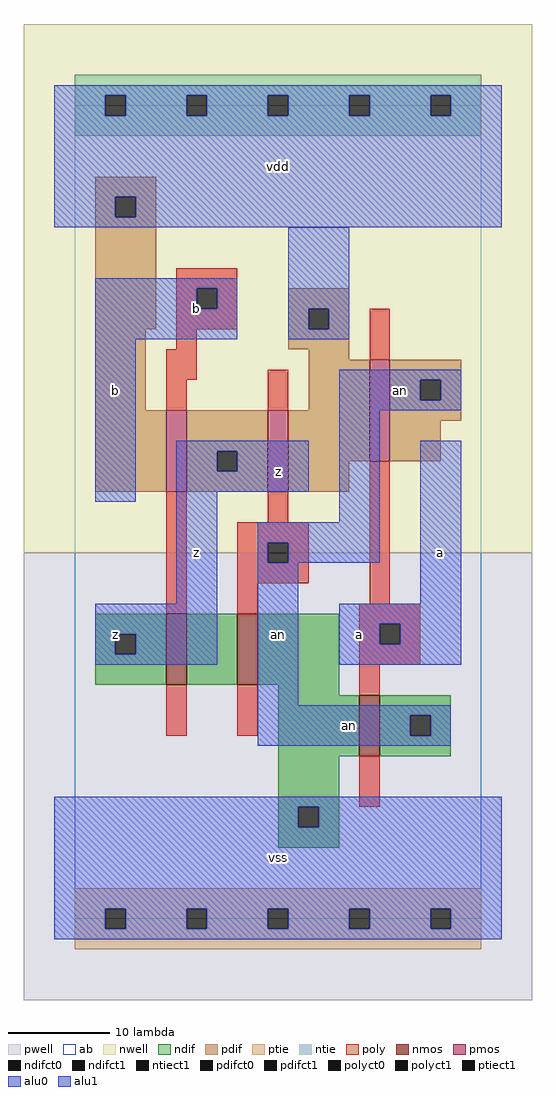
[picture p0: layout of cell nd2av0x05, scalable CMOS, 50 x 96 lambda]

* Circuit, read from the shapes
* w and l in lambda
.subckt nd2av0x05 a an b vdd vss z
M1 n1 b z vss nfet w=7 l=2
M2 vss an n1 vss nfet w=7 l=2
M3 an a vss vss nfet w=6 l=2
M4 z b vdd vdd pfet w=8 l=2
M5 vdd an z vdd pfet w=8 l=2
M6 an a vdd vdd pfet w=10 l=2
.ends

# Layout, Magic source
magic
tech scmos
<< ab >>
rect 0 0 40 80
<< nwell >>
rect -5 36 45 88
<< pwell >>
rect -5 -8 45 36
<< poly >>
rect 10 62 16 64
rect 10 60 12 62
rect 14 60 16 62
rect 10 58 16 60
rect 10 56 12 58
rect 9 53 12 56
rect 29 55 31 60
rect 9 50 11 53
rect 19 50 21 54
rect 9 30 11 42
rect 19 39 21 42
rect 16 37 23 39
rect 16 35 19 37
rect 21 35 23 37
rect 16 33 23 35
rect 16 30 18 33
rect 29 31 31 45
rect 9 18 11 23
rect 16 18 18 23
rect 28 29 34 31
rect 28 27 30 29
rect 32 27 34 29
rect 28 25 34 27
rect 28 22 30 25
rect 28 11 30 16
<< ndif >>
rect 2 28 9 30
rect 2 26 4 28
rect 6 26 9 28
rect 2 23 9 26
rect 11 23 16 30
rect 18 23 26 30
rect 20 22 26 23
rect 20 16 28 22
rect 30 20 37 22
rect 30 18 33 20
rect 35 18 37 20
rect 30 16 37 18
rect 20 11 26 16
rect 20 9 22 11
rect 24 9 26 11
rect 20 7 26 9
<< pdif >>
rect 2 71 8 73
rect 2 69 4 71
rect 6 69 8 71
rect 2 58 8 69
rect 21 60 27 62
rect 21 58 23 60
rect 25 58 27 60
rect 2 50 7 58
rect 21 56 27 58
rect 23 55 27 56
rect 23 50 29 55
rect 2 42 9 50
rect 11 46 19 50
rect 11 44 14 46
rect 16 44 19 46
rect 11 42 19 44
rect 21 45 29 50
rect 31 53 38 55
rect 31 51 34 53
rect 36 51 38 53
rect 31 49 38 51
rect 31 45 36 49
rect 21 42 27 45
<< alu1 >>
rect -2 81 42 82
rect -2 79 3 81
rect 5 79 11 81
rect 13 79 19 81
rect 21 79 27 81
rect 29 79 35 81
rect 37 79 42 81
rect -2 71 42 79
rect -2 69 4 71
rect 6 69 42 71
rect -2 68 42 69
rect 2 62 16 63
rect 2 60 12 62
rect 14 60 16 62
rect 2 57 16 60
rect 2 41 6 57
rect 10 46 23 47
rect 10 44 14 46
rect 16 44 23 46
rect 10 42 23 44
rect 10 31 14 42
rect 2 28 14 31
rect 2 26 4 28
rect 6 26 14 28
rect 2 25 14 26
rect 34 31 38 47
rect 26 29 38 31
rect 26 27 30 29
rect 32 27 38 29
rect 26 25 38 27
rect -2 11 42 12
rect -2 9 22 11
rect 24 9 42 11
rect -2 1 42 9
rect -2 -1 3 1
rect 5 -1 11 1
rect 13 -1 19 1
rect 21 -1 27 1
rect 29 -1 35 1
rect 37 -1 42 1
rect -2 -2 42 -1
<< ptie >>
rect 0 1 40 3
rect 0 -1 3 1
rect 5 -1 11 1
rect 13 -1 19 1
rect 21 -1 27 1
rect 29 -1 35 1
rect 37 -1 40 1
rect 0 -3 40 -1
<< ntie >>
rect 0 81 40 83
rect 0 79 3 81
rect 5 79 11 81
rect 13 79 19 81
rect 21 79 27 81
rect 29 79 35 81
rect 37 79 40 81
rect 0 77 40 79
<< nmos >>
rect 9 23 11 30
rect 16 23 18 30
rect 28 16 30 22
<< pmos >>
rect 9 42 11 50
rect 19 42 21 50
rect 29 45 31 55
<< polyct0 >>
rect 19 35 21 37
<< polyct1 >>
rect 12 60 14 62
rect 30 27 32 29
<< ndifct0 >>
rect 33 18 35 20
<< ndifct1 >>
rect 4 26 6 28
rect 22 9 24 11
<< ntiect1 >>
rect 3 79 5 81
rect 11 79 13 81
rect 19 79 21 81
rect 27 79 29 81
rect 35 79 37 81
<< ptiect1 >>
rect 3 -1 5 1
rect 11 -1 13 1
rect 19 -1 21 1
rect 27 -1 29 1
rect 35 -1 37 1
<< pdifct0 >>
rect 23 58 25 60
rect 34 51 36 53
<< pdifct1 >>
rect 4 69 6 71
rect 14 44 16 46
<< alu0 >>
rect 21 60 27 68
rect 21 58 23 60
rect 25 58 27 60
rect 21 57 27 58
rect 26 53 38 54
rect 26 51 34 53
rect 36 51 38 53
rect 26 50 38 51
rect 26 39 30 50
rect 18 37 30 39
rect 18 35 19 37
rect 21 35 30 37
rect 18 21 22 35
rect 18 20 37 21
rect 18 18 33 20
rect 35 18 37 20
rect 18 17 37 18
<< labels >>
rlabel alu0 20 28 20 28 6 an
rlabel alu0 27 19 27 19 6 an
rlabel alu0 32 52 32 52 6 an
rlabel alu1 4 28 4 28 6 z
rlabel alu1 4 52 4 52 6 b
rlabel alu1 12 36 12 36 6 z
rlabel alu1 12 60 12 60 6 b
rlabel alu1 20 6 20 6 6 vss
rlabel alu1 28 28 28 28 6 a
rlabel alu1 20 44 20 44 6 z
rlabel alu1 20 74 20 74 6 vdd
rlabel alu1 36 36 36 36 6 a
<< end >>
